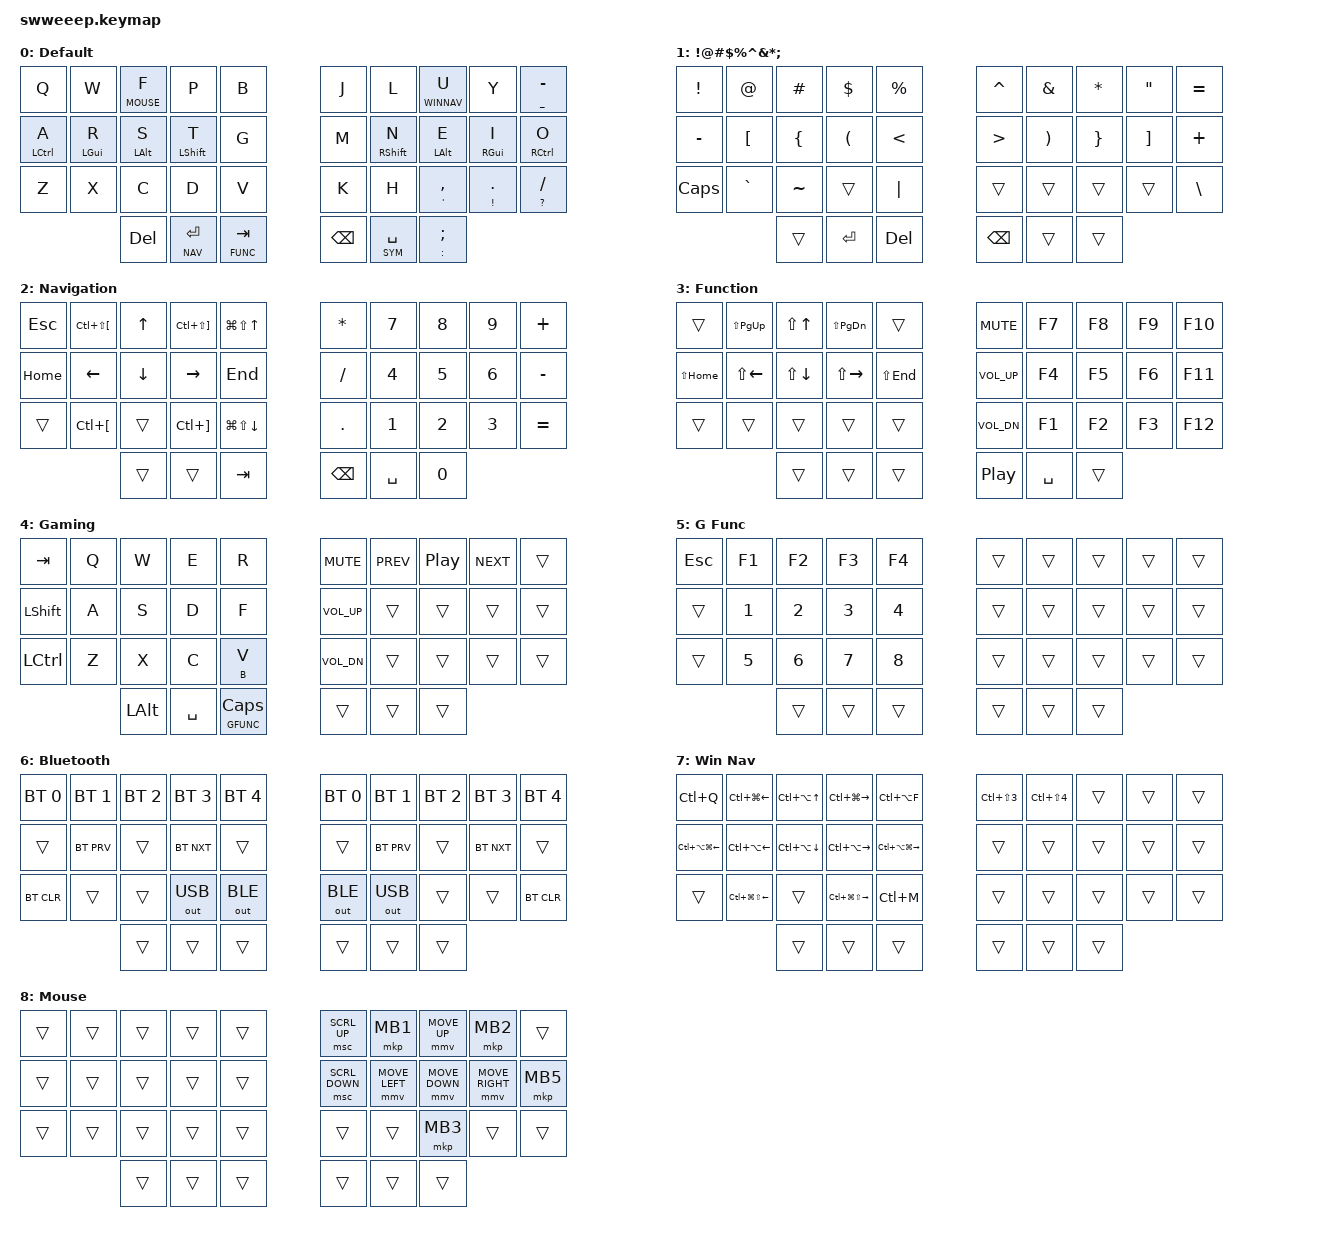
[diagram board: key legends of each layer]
#include <behaviors.dtsi>
#include <dt-bindings/zmk/keys.h>
#include <dt-bindings/zmk/bt.h>
#include <dt-bindings/zmk/outputs.h>
#include <dt-bindings/zmk/pointing.h>

#define DEFAULT 0
#define SYM     1
#define NAV     2
#define FUNC    3
#define GAMING  4
#define GFUNC   5
#define BT      6
#define WINNAV  7
#define MOUSE   8

#define ZMK_POINTING_DEFAULT_MOVE_VAL 1500  // default: 600
#define ZMK_POINTING_DEFAULT_SCRL_VAL 20    // default: 10

&caps_word {
    continue-list = <UNDERSCORE MINUS>;
};

/ {
    combos {
        compatible = "zmk,combos";
        combo_undo {
            timeout-ms = <50>;
            key-positions = <20 21>;
            bindings = <&kp LC(Z)>;
        };
        combo_redo {
            timeout-ms = <50>;
            key-positions = <21 22>;
            bindings = <&kp LC(Y)>;
        };
        combo_bt_left {
            timeout-ms = <50>;
            key-positions = <30 31 32>;
            bindings = <&tog BT>;
        };
        combo_gaming_mode {
            timeout-ms = <50>;
            key-positions = <0 1 2 3>;
            bindings = <&tog GAMING>;
        };
        
    };
};

/ {

    behaviors {
        hm: homerow_mods {
            compatible = "zmk,behavior-hold-tap";
            label = "HOMEROW_MODS";
            #binding-cells = <2>;
            tapping-term-ms = <240>;
            quick_tap_ms = <125>;
            global-quick-tap;
            flavor = "tap-preferred";
            bindings = <&kp>, <&kp>;
        };
        hs: homerow_shift {
            compatible = "zmk,behavior-hold-tap";
            label = "HOMEROW_SHIFT";
            #binding-cells = <2>;
            tapping-term-ms = <200>;
            quick_tap_ms = <0>;
            flavor = "tap-preferred";
            bindings = <&kp>, <&kp>;
        };
    };

    keymap {
        compatible = "zmk,keymap";

        default_layer {
            label = "Default";

            bindings = <
    &kp Q        &kp W        &lt MOUSE F &kp P         &kp B                                       &kp J         &kp L        &lt WINNAV U         &kp Y        &hs UNDER MINUS
    &hm LCTL A   &hm LGUI R   &hm LALT S   &hs LSHIFT T  &kp G                                       &kp M         &hs RSHIFT N &hm LALT E    &hm RGUI I   &hm RCTL O
    &kp Z        &kp X        &kp C        &kp D         &kp V                                       &kp K         &kp H        &hs SQT COMMA &hs EXCL DOT &hs QMARK FSLH
                                        &kp DEL       &lt NAV RET  &lt FUNC TAB  &kp BSPC   &lt SYM SPACE &hs COLON SEMI
            >;
        };

        sym_layer {
            label = "!@#$%^&*;";

            bindings = <
    &kp EXCL     &kp AT       &kp HASH        &kp DLLR         &kp PRCNT                                   &kp CARET     &kp AMPS        &kp ASTRK     &kp DQT     &kp EQUAL
    &kp MINUS    &kp LBKT     &kp LBRC        &kp LPAR         &kp LT                                      &kp GT        &kp RPAR        &kp RBRC      &kp RBKT    &kp PLUS
    &kp CAPS     &kp GRAVE    &kp TILDE       &trans           &kp PIPE                                    &trans        &trans          &trans        &trans      &kp BSLH
                                              &trans           &kp RET       &kp DEL        &kp BSPC       &trans        &trans
            >;
        };

        nav_layer {
            label = "Navigation";

            bindings = <
    &kp ESC      &kp LC(LS(LBKT)) &kp UP      &kp LC(LS(RBKT)) &kp LG(LS(UP))                      &kp ASTRK     &kp N7       &kp N8        &kp N9      &kp PLUS
    &kp HOME     &kp LEFT         &kp DOWN    &kp RIGHT        &kp END                             &kp FSLH      &kp N4       &kp N5        &kp N6      &kp MINUS
    &trans       &kp LC(LBKT)     &trans      &kp LC(RBKT)     &kp LG(LS(DOWN))                    &kp DOT       &kp N1       &kp N2        &kp N3      &kp EQUAL
                                                     &trans        &trans       &kp TAB         &kp BSPC         &kp SPACE     &kp N0
            >;
        };
        

        func_layer {
            label = "Function";

            bindings = <
    &trans       &kp LS(PG_UP) &kp LS(UP)   &kp LS(PG_DN) &trans                                  &kp C_MUTE       &kp F7       &kp F8        &kp F9      &kp F10
    &kp LS(HOME) &kp LS(LEFT)  &kp LS(DOWN) &kp LS(RIGHT) &kp LS(END)                             &kp C_VOL_UP     &kp F4       &kp F5        &kp F6      &kp F11
    &trans       &trans        &trans       &trans        &trans                                  &kp C_VOL_DN     &kp F1       &kp F2        &kp F3      &kp F12
                                            &trans        &trans     &trans      &kp C_PLAY_PAUSE  &kp SPACE        &trans
            >;
        };

        gaming_layer {
            label = "Gaming";

            bindings = <
    &kp TAB       &kp Q       &kp W        &kp E            &kp R                          &kp C_MUTE       &kp C_PREV   &kp C_PP     &kp C_NEXT     &trans
    &kp LSHFT     &kp A       &kp S        &kp D            &kp F                          &kp C_VOL_UP     &trans       &trans       &trans         &trans
    &kp LCTRL     &kp Z       &kp X        &kp C            &mt B V                          &kp C_VOL_DN     &trans       &trans       &trans         &trans
                                 &kp LALT    &kp SPACE        &lt GFUNC CAPS       &trans         &trans       &trans 
            >;
        };

        gaming_func_layer {
            label = "G Func";

            bindings = <
    &kp ESC      &kp F1      &kp F2       &kp F3           &kp F4                                     &trans       &trans       &trans       &trans         &trans
    &trans       &kp N1       &kp N2        &kp N3            &kp N4                                      &trans       &trans       &trans       &trans         &trans
    &trans       &kp N5       &kp N6        &kp N7            &kp N8                                      &trans       &trans       &trans       &trans         &trans
                                            &trans            &trans        &trans         &trans         &trans       &trans 
            >;
        };

        bluetooth_layer {
            label = "Bluetooth";

            bindings = <
    &bt BT_SEL 0  &bt BT_SEL 1 &bt BT_SEL 2 &bt BT_SEL 3 &bt BT_SEL 4                            &bt BT_SEL 0  &bt BT_SEL 1 &bt BT_SEL 2 &bt BT_SEL 3 &bt BT_SEL 4
    &trans        &bt BT_PRV   &trans       &bt BT_NXT   &trans                                  &trans        &bt BT_PRV   &trans       &bt BT_NXT   &trans
    &bt BT_CLR    &trans       &trans       &out OUT_USB &out OUT_BLE                            &out OUT_BLE  &out OUT_USB &trans       &trans       &bt BT_CLR
                                            &trans       &trans        &trans         &trans     &trans        &trans
            >;
        };

        winnav_layer {
            label = "Win Nav";

            bindings = <
    &kp LC(Q)            &kp LC(LG(LEFT))      &kp LC(LA(UP))   &kp LC(LG(RIGHT))     &kp LC(LA(F))                               &kp LC(LS(N3))  &kp LC(LS(N4)) &trans       &trans         &trans
    &kp LC(LA(LG(LEFT))) &kp LC(LA(LEFT))      &kp LC(LA(DOWN)) &kp LC(LA(RIGHT))     &kp LC(LA(LG(RIGHT)))                       &trans          &trans         &trans       &trans         &trans
    &trans               &kp LC(LG(LS(LEFT)))  &trans        &kp LC(LG(LS(RIGHT))) &kp LC(M)                                   &trans          &trans         &trans       &trans         &trans
                                                                      &trans            &trans        &trans         &trans         &trans       &trans 
            >;
        };

        mouse_layer{
            label = "Mouse";

            bindings = <
    &trans       &trans     &trans        &trans           &trans                                   &msc SCRL_UP   &mkp MB1       &mmv MOVE_UP    &mkp MB2        &trans
    &trans       &trans     &trans        &trans           &trans                                   &msc SCRL_DOWN &mmv MOVE_LEFT &mmv MOVE_DOWN  &mmv MOVE_RIGHT &mkp MB5
    &trans       &trans     &trans        &trans           &trans                                   &trans         &trans         &mkp MB3        &trans          &trans
                                            &trans            &trans        &trans         &trans         &trans       &trans 
            >;
        };
    };
};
